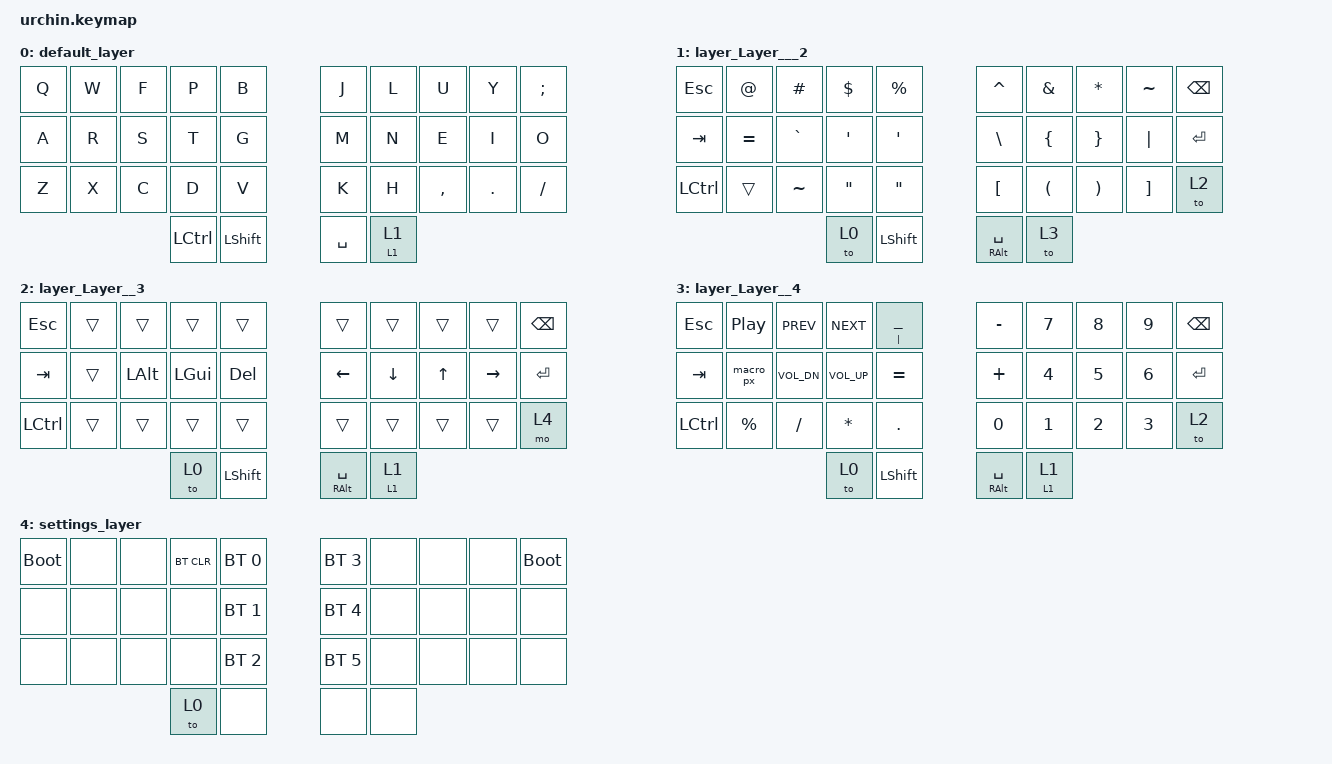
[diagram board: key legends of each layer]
/*
 * Copyright (c) 2020 duckyb
 *
 * SPDX-License-Identifier: MIT
 */

#include <behaviors.dtsi>
#include <dt-bindings/zmk/keys.h>
#include <dt-bindings/zmk/bt.h>
#include <dt-bindings/zmk/outputs.h>
/* #include "keymap_italian.h" */
#include <behaviors.dtsi>
#include <dt-bindings/zmk/keys.h>

// Layer definitions
#define BASE 0
#define SYMBOLS 1
#define ARROWS 2
#define NUMBERS 3
#define SETTINGS 4
// -----------------

&mt {
    flavor = "tap-preferred";
    tapping_term_ms = <200>;
};


/ {
  behaviors {
    #include "macros.dtsi"

    hm: homerow_mods {
      compatible = "zmk,behavior-hold-tap";
      label = "HOMEROW_MODS";
      #binding-cells = <2>;
      tapping-term-ms = <200>;
      quick_tap_ms = <175>;
      flavor = "tap-preferred";
      bindings = <&kp>, <&kp>;
    };
    hs: homerow_shifts {
      compatible = "zmk,behavior-hold-tap";
      label = "HOMEROW_SHIFTS";
      #binding-cells = <2>;
      tapping-term-ms = <150>;
      quick_tap_ms = <0>;
      flavor = "balanced";
      bindings = <&kp>, <&kp>;
    };
    hsl: homerow_shifts_layer {
      compatible = "zmk,behavior-hold-tap";
      label = "HOMEROW_SHIFTS_LAYER";
      #binding-cells = <2>;
      tapping-term-ms = <150>;
      quick_tap_ms = <0>;
      flavor = "balanced";
      bindings = <&kp>, <&to>;
    };
    td: tapdance {
      compatible = "zmk,behavior-hold-tap";
      label = "TAPDANCE";
      #binding-cells = <2>;
      tapping-term-ms = <150>;
      quick_tap_ms = <0>;
      flavor = "tap-preferred";
      bindings = <&kp>, <&kp>;
    };
    bl: layertap {
      compatible = "zmk,behavior-hold-tap";
      label = "LAYERTAP";
      #binding-cells = <2>;
      tapping-term-ms = <150>;
      quick_tap_ms = <0>;
      flavor = "tap-preferred";
      bindings = <&to>, <&kp>;
    };
    mo_to: behavior_mo_tog {
      compatible = "zmk,behavior-hold-tap";
      #binding-cells = <2>;
      flavor = "hold-preferred";
      tapping-term-ms = <200>;
      bindings = <&mo>, <&to>;
    };
    mo_to_0: behavior_mo_0_tog {
      compatible = "zmk,behavior-hold-tap";
      #binding-cells = <2>;
      flavor = "hold-preferred";
      tapping-term-ms = <200>;
      bindings = <&macro_to_base>, <&to>;
    };
	};


  combos {
    compatible = "zmk,combos";
    combo_backspace {
      timeout-ms = <40>;
      key-positions = <0 1>;
      bindings = <&kp BACKSPACE>;
      layers = <0>;
    };
    combo_del {
      timeout-ms = <40>;
      key-positions = <8 9>;
      bindings = <&kp DEL>;
      layers = <0>;
    };
    combo_esc { 
      timeout-ms = <40>;
      key-positions = <23 24>;
      bindings = <&kp ESC>;
      layers = <0>;
    };
    combo_ent {
      timeout-ms = <40>;
      key-positions = <20 21>;
      bindings = <&kp RET>;
      layers = <0>;
    };
    combo_layer_3 {
      timeout-ms = <40>;
      key-positions = <27 28>;
      bindings = <&to 3>;
    };
    combo_layer_2 {
      timeout-ms = <40>;
      key-positions = <17 18>;
      bindings = <&to 2>;
    };
    combo_dollar {
      timeout-ms = <40>;
      key-positions = <26 27>;
      bindings = <&kp DOLLAR>;
      layers = <0>;
    };
    combo_n0 {
      timeout-ms = <40>;
      key-positions = <22 23>;
      bindings = <&kp N0>;
      layers = <0>;
    };
    combo_screenshot1 {
      timeout-ms = <40>;
      key-positions = <0 4>;
      bindings = <&kp LS(LG(N4))>;
      layers = <0>;
    };
    combo_minus{
      timeout-ms = <40>;
      key-positions = <15 6>;
      bindings = <&kp MINUS>;
      layers = <0>;
    };
    combo_underscore{
      timeout-ms = <40>;
      key-positions = <15 16>;
      bindings = <&kp UNDERSCORE>;
      layers = <0>;
    };
    combo_excl{
      timeout-ms = <40>;
      key-positions = <28 29>;
      bindings = <&kp EXCL>;
      layers = <0>;
    };
    combo_dot{
      timeout-ms = <40>;
      key-positions = <25 26>;
      bindings = <&kp DOT>;
      layers = <3>;
    };
    combo_lgui{
      timeout-ms = <40>;
      key-positions = <13 11>; /* T + R */
      bindings = <&kp LGUI>;
      slow-release; // this is true. for false, delete it.
    };
    combo_rgui{
      timeout-ms = <40>;
      key-positions = <16 18>; /* N + I */
      bindings = <&kp RGUI>;
      slow-release;
    };
    combo_lalt{
      timeout-ms = <40>;
      key-positions = <12 11>; /* T + R */
      bindings = <&kp LALT>;
      slow-release;
    };
    // shortcut to access OPT and CMD at the same time. Difficult to accoumplish with the new combo set up
    combo_lalt_lgui{
      timeout-ms = <40>;
      key-positions = <10 13>; /* A + T */
      bindings = <&kp LG(LALT)>;
    };
    /// combo_ralt{
    ///   timeout-ms = <40>;
    ///   key-positions = <17 18>; /* E + I */
    ///   bindings = <&kp RALT>;
    ///   slow-release;
    /// };
    combo_lsuper{
      timeout-ms = <40>;
      key-positions = <20 32>; /* Z + Space */
      bindings = <&kp LC(LS(LALT))>;
      slow-release;
    };
    combo_rsuper{
      timeout-ms = <40>;
      key-positions = <31 32>; /* Layer 1 + Space (two right thumb buttons) */
      bindings = <&kp LC(LS(RALT))>;
      slow-release;
    };
  };

	keymap {
		compatible = "zmk,keymap";
		// Base alpha layer
    default_layer {
      bindings = <
        &kp Q   &kp W        &kp F        &kp P        &kp B            &kp J   &kp L          &kp U                 &kp Y          &kp SEMI   /* 0-9 */
        &kp A   &kp R        &kp S        &kp T        &kp G            &kp M   &kp N          &kp E                 &kp I          &kp O   /* 10-19 */
        &kp Z   &kp X        &kp C        &kp D        &kp V            &kp K   &kp H          &kp COMMA             &kp DOT        &kp SLASH   /* 20-29 */
        &kp LCTRL &kp LEFT_SHIFT                &kp  SPACE &mo_to 1 1
      >;
    };

    layer_Layer___2 {
      bindings = <
        &kp ESCAPE         &kp AT_SIGN    &kp HASH         &kp DOLLAR               &kp PERCENT                  &kp CARET         &kp AMPERSAND         &kp ASTERISK              &kp TILDE          &kp BACKSPACE  
        &kp TAB            &kp EQUAL      &kp GRAVE        &kp SINGLE_QUOTE         &kp SINGLE_QUOTE             &kp BACKSLASH     &kp LEFT_BRACE        &kp RIGHT_BRACE           &kp PIPE           &kp ENTER 
        &kp LCTRL          &trans         &kp TILDE        &kp DOUBLE_QUOTES        &kp DOUBLE_QUOTES            &kp LEFT_BRACKET  &kp LEFT_PARENTHESIS  &kp RIGHT_PARENTHESIS     &kp RIGHT_BRACKET  &to 2
        &to 0 &kp LEFT_SHIFT                &mt RIGHT_ALT SPACE  &to 3   
      >;
    };

    layer_Layer__3 {
      bindings = <
        &kp ESC          &trans     &trans    &trans    &trans                   &trans      &trans        &trans      &trans         &kp BACKSPACE   
        &kp TAB          &trans     &kp LALT  &kp LGUI  &kp DEL                  &kp LEFT    &kp DOWN      &kp UP      &kp RIGHT      &kp ENTER   
        &kp LCTRL        &trans     &trans    &trans    &trans                   &trans      &trans        &trans      &trans         &mo 4
        &to 0     &kp LEFT_SHIFT                          &mt RIGHT_ALT SPACE &mo_to 1 1                       
      >;
    };

    layer_Layer__4 {
      bindings = <
        &kp ESC           &kp C_PP      &kp C_PREV           &kp C_NEXT          &td PIPE UNDERSCORE           &kp MINUS   &kp N7        &kp N8  &kp N9      &kp BACKSPACE   
        &kp TAB           &macro_px     &kp C_VOL_DN         &kp C_VOL_UP        &kp EQUAL                     &kp PLUS    &kp N4        &kp N5  &kp N6      &kp ENTER   
        &kp LCTL          &kp PRCNT     &kp SLASH            &kp STAR            &kp PERIOD                    &kp N0      &kp N1        &kp N2  &kp N3      &to 2   
        &to 0               &kp LEFT_SHIFT                &mt RIGHT_ALT SPACE   &mo_to 1 1   
      >;
    };


		settings_layer {
				bindings = <
				&bootloader &none &none &bt BT_CLR  &bt BT_SEL 0          &bt BT_SEL 3 &none &none &none &bootloader 
				&none       &none &none &none       &bt BT_SEL 1          &bt BT_SEL 4 &none &none &none &none
				&none       &none &none &none       &bt BT_SEL 2          &bt BT_SEL 5 &none &none &none &none
										&to 0 &none                         &none &none 
				>;
		};
	};
};
